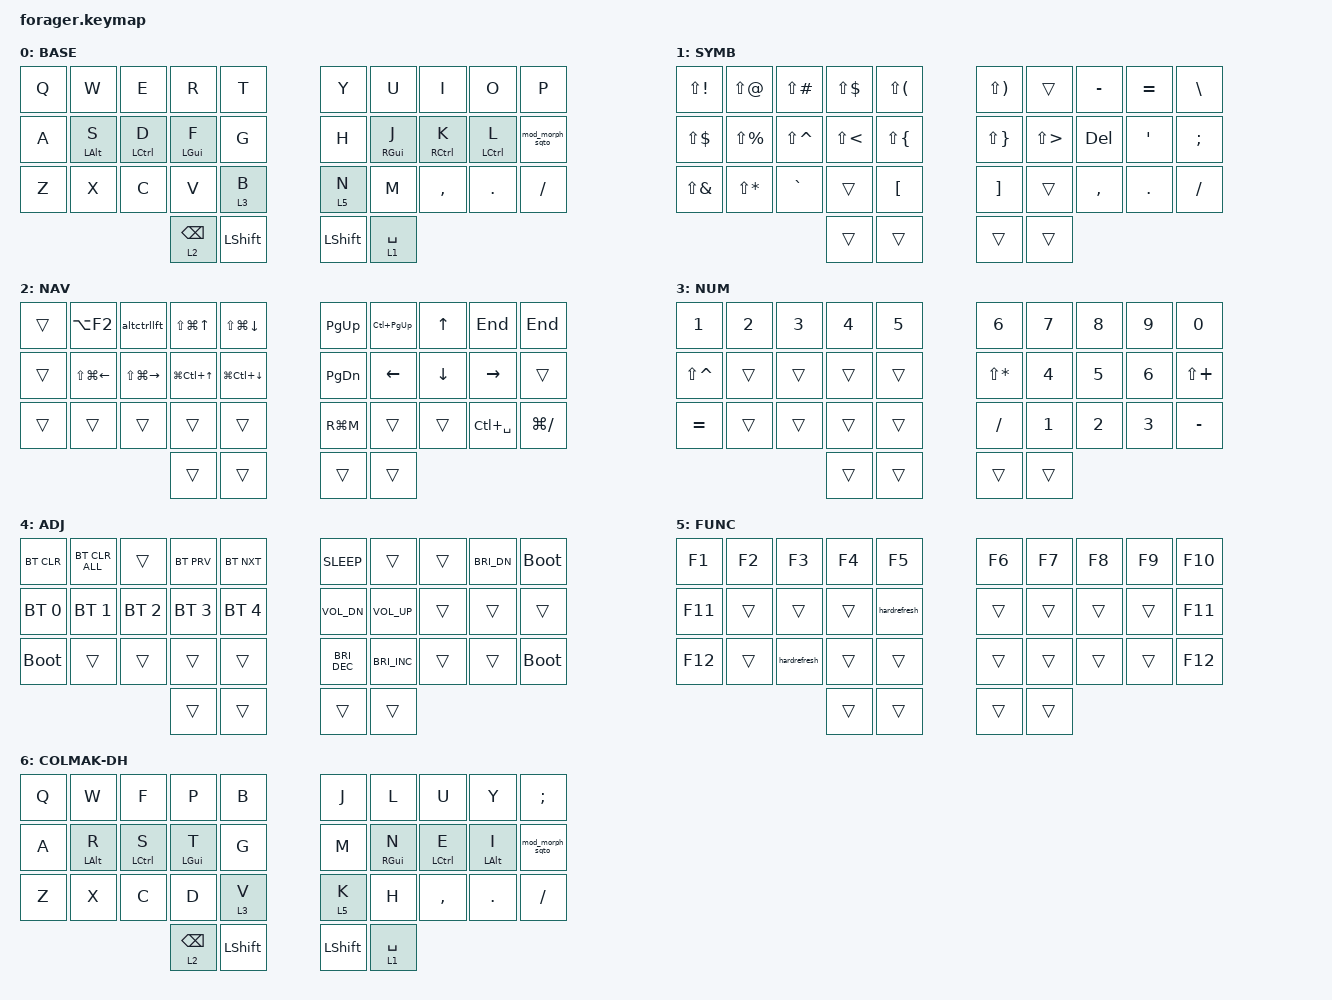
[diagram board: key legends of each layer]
#include <behaviors.dtsi>
#include <dt-bindings/zmk/bt.h>
#include <dt-bindings/zmk/keys.h>

#define BASE 0
#define NAV  1
#define SYM  2
#define ADJ  3

/ {
    behaviors {
        // Simple hold-tap for layer/key combo

        lt_simple: layer_tap_simple {
            compatible = "zmk,behavior-hold-tap";
            #binding-cells = <2>;
            tapping-term-ms = <200>;
            flavor = "tap-preferred";
            bindings = <&mo>, <&kp>;
        };

        // Simple mod-tap for modifier/key combo

        mt_simple: mod_tap_simple {
            compatible = "zmk,behavior-hold-tap";
            #binding-cells = <2>;
            tapping-term-ms = <200>;
            flavor = "tap-preferred";
            bindings = <&kp>, <&kp>;
        };

        mod_morph_sqt: mod_morph_sqt {
            compatible = "zmk,behavior-mod-morph";
            label = "MOD_MORPH_SQT";
            bindings = <&kp SEMICOLON>, <&kp SQT>;

            #binding-cells = <0>;
            mods = <(MOD_LALT)>;
        };

        mod_morph_sqto: mod_morph_sqto {
            compatible = "zmk,behavior-mod-morph";
            label = "MOD_MORPH_SQTO";
            bindings = <&kp O>, <&kp SQT>;

            #binding-cells = <0>;
            mods = <(MOD_LALT)>;
        };
    };

    conditional_layers {
        compatible = "zmk,conditional-layers";

        tri_layer {
            if-layers = <2 1>;
            then-layer = <4>;
        };
    };

    combos {
        compatible = "zmk,combos";

        enter_combo {
            bindings = <&kp ENTER>;
            key-positions = <16 17 18>;
        };

        escape_combo {
            bindings = <&kp ESCAPE>;
            key-positions = <2 1>;
        };

        tag_combo {
            bindings = <&kp TAB>;
            key-positions = <11 12 13>;
        };

        colmak-dh-toggle {
            bindings = <&tog 6>;
            key-positions = <1 2 0 3>;
        };
    };

    macros {
        altf2: altf2 {
            compatible = "zmk,behavior-macro";
            #binding-cells = <0>;
            bindings = <&macro_press>, <&kp LA(F2)>;

            label = "ALTF2";
        };

        altctrlrgt: altctrl {
            compatible = "zmk,behavior-macro";
            #binding-cells = <0>;
            bindings = <&kp LC(LA(RIGHT_ARROW))>;
            label = "ALTCTRL";
        };

        altctrllft: altctrllft {
            compatible = "zmk,behavior-macro";
            #binding-cells = <0>;
            bindings = <&kp LA(LC(LEFT))>;
            label = "ALTCTRLLFT";
        };

        wrkspcleft: wrkspcleft {
            compatible = "zmk,behavior-macro";
            #binding-cells = <0>;
            bindings = <&kp LA(LC(LS(LEFT_ARROW)))>;
            label = "WRKSPCLEFT";
        };

        wrkspcshftrght: wrkspcshftrght {
            compatible = "zmk,behavior-macro";
            #binding-cells = <0>;
            bindings = <&kp LS(LA(LC(RIGHT)))>;
            label = "WRKSPCSHFTRGHT";
        };

        hardrefresh: hardrefresh {
            compatible = "zmk,behavior-macro";
            #binding-cells = <0>;
            bindings = <&kp LC(F5)>;
            label = "HARDREFRESH";
        };
    };

    keymap {
        compatible = "zmk,keymap";

        base {
            bindings = <
&kp Q  &kp W                  &kp E               &kp R              &kp T           &kp Y           &kp U                   &kp I               &kp O               &kp P
&kp A  &mt_simple LEFT_ALT S  &mt_simple LCTRL D  &mt_simple LGUI F  &kp G           &kp H           &mt_simple RIGHT_GUI J  &mt_simple RCTRL K  &mt_simple LCTRL L  &mod_morph_sqto
&kp Z  &kp X                  &kp C               &kp V              &lt_simple 3 B  &lt_simple 5 N  &kp M                   &kp COMMA           &kp DOT             &kp FSLH
                                                  &lt_simple 2 BSPC  &kp LSHFT       &kp LSHFT       &lt_simple 1 SPACE
            >;

            label = "BASE";
        };

        sym {
            bindings = <
&kp LS(EXCL)  &kp LS(AT)     &kp LS(POUND)  &kp LS(DLLR)  &kp LS(LPAR)  &kp LS(RPAR)  &trans      &kp MINUS  &kp EQUAL         &kp BSLH
&kp LS(DLLR)  &kp LS(PRCNT)  &kp LS(CARET)  &kp LS(LT)    &kp LS(LBRC)  &kp LS(RBRC)  &kp LS(GT)  &kp DEL    &kp SINGLE_QUOTE  &kp SEMI
&kp LS(AMPS)  &kp LS(STAR)   &kp GRAVE      &trans        &kp LBKT      &kp RBKT      &trans      &kp COMMA  &kp DOT           &kp FSLH
                                            &trans        &trans        &trans        &trans
            >;

            label = "SYMB";
        };

        nav {
            bindings = <
&trans  &kp LA(F2)              &altctrllft        &kp LS(LG(UP_ARROW))  &kp LS(LG(DOWN))        &kp PAGE_UP    &kp LC(PG_UP)  &kp UP    &kp END        &kp END
&trans  &kp LS(LG(LEFT_ARROW))  &kp LS(LG(RIGHT))  &kp LG(LC(UP_ARROW))  &kp LG(LC(DOWN_ARROW))  &kp PAGE_DOWN  &kp LEFT       &kp DOWN  &kp RIGHT      &trans
&trans  &trans                  &trans             &trans                &trans                  &kp RG(M)      &trans         &trans    &kp LC(SPACE)  &kp LG(SLASH)
                                                   &trans                &trans                  &trans         &trans
            >;

            label = "NAV";
        };

        num {
            bindings = <
&kp N1         &kp N2  &kp N3  &kp N4  &kp N5  &kp N6        &kp N7  &kp N8  &kp N9  &kp N0
&kp LS(CARET)  &trans  &trans  &trans  &trans  &kp LS(STAR)  &kp N4  &kp N5  &kp N6  &kp LS(PLUS)
&kp EQUAL      &trans  &trans  &trans  &trans  &kp FSLH      &kp N1  &kp N2  &kp N3  &kp MINUS
                               &trans  &trans  &trans        &trans
            >;

            label = "NUM";
        };

        adj {
            bindings = <
&bt BT_CLR    &bt BT_CLR_ALL  &trans        &bt BT_PRV    &bt BT_NXT    &kp C_SLEEP           &trans                &trans  &kp C_BRI_DN  &bootloader
&bt BT_SEL 0  &bt BT_SEL 1    &bt BT_SEL 2  &bt BT_SEL 3  &bt BT_SEL 4  &kp C_VOL_DN          &kp C_VOL_UP          &trans  &trans        &trans
&bootloader   &trans          &trans        &trans        &trans        &kp C_BRIGHTNESS_DEC  &kp C_BRIGHTNESS_INC  &trans  &trans        &bootloader
                                            &trans        &trans        &trans                &trans
            >;

            label = "ADJ";
        };

        fkey {
            bindings = <
&kp F1   &kp F2  &kp F3        &kp F4  &kp F5        &kp F6  &kp F7  &kp F8  &kp F9  &kp F10
&kp F11  &trans  &trans        &trans  &hardrefresh  &trans  &trans  &trans  &trans  &kp F11
&kp F12  &trans  &hardrefresh  &trans  &trans        &trans  &trans  &trans  &trans  &kp F12
                               &trans  &trans        &trans  &trans
            >;

            label = "FUNC";
        };

        COLMAK-DH {
            bindings = <
&kp Q  &kp W                  &kp F               &kp P              &kp B                  &kp J           &kp L              &kp U               &kp Y              &kp SEMI
&kp A  &mt_simple LEFT_ALT R  &mt_simple LCTRL S  &mt_simple LGUI T  &kp G                  &kp M           &mt_simple RGUI N  &mt_simple LCTRL E  &mt_simple LALT I  &mod_morph_sqto
&kp Z  &kp X                  &kp C               &kp D              &lt_simple 3 V         &lt_simple 5 K  &kp H              &kp COMMA           &kp DOT            &kp FSLH
                                                   &lt_simple 2 BSPC  &kp LSHFT             &kp LSHFT       &lt_simple 1 SPACE
            >;

            label = "COLMAK-DH";
        };
    };
};

&lt { tapping-term-ms = <200>; };

&mt { tapping-term-ms = <200>; };
